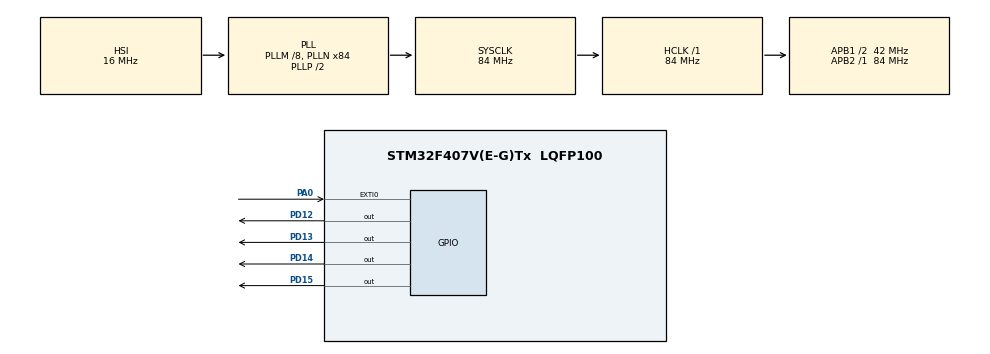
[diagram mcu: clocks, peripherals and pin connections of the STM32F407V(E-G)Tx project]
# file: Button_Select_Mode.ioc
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Mcu.Family=STM32F4
Mcu.Name=STM32F407V(E-G)Tx
Mcu.Package=LQFP100
NVIC.EXTI0_IRQn=true\:1\:0\:true\:false\:true
NVIC.PriorityGroup=NVIC_PRIORITYGROUP_4
NVIC.TIM3_IRQn=true\:0\:0\:true\:false\:true
PA0-WKUP.GPIO_ModeDefaultEXTI=GPIO_MODE_IT_FALLING
PA0-WKUP.GPIO_PuPd=GPIO_NOPULL
PA0-WKUP.Signal=GPXTI0
PA13.Mode=Serial-Wire
PA13.Signal=SYS_JTMS-SWDIO
PA14.Mode=Serial-Wire
PA14.Signal=SYS_JTCK-SWCLK
PD12.GPIO_ModeDefaultOutputPP=GPIO_MODE_OUTPUT_PP
PD12.GPIO_PuPd=GPIO_NOPULL
PD12.GPIO_Speed=GPIO_SPEED_FREQ_VERY_HIGH
PD12.PinState=GPIO_PIN_RESET
PD12.Signal=GPIO_Output
PD13.GPIO_ModeDefaultOutputPP=GPIO_MODE_OUTPUT_PP
PD13.GPIO_PuPd=GPIO_NOPULL
PD13.GPIO_Speed=GPIO_SPEED_FREQ_VERY_HIGH
PD13.PinState=GPIO_PIN_RESET
PD13.Signal=GPIO_Output
PD14.GPIO_ModeDefaultOutputPP=GPIO_MODE_OUTPUT_PP
PD14.GPIO_PuPd=GPIO_NOPULL
PD14.GPIO_Speed=GPIO_SPEED_FREQ_VERY_HIGH
PD14.PinState=GPIO_PIN_RESET
PD14.Signal=GPIO_Output
PD15.GPIO_ModeDefaultOutputPP=GPIO_MODE_OUTPUT_PP
PD15.GPIO_PuPd=GPIO_NOPULL
PD15.GPIO_Speed=GPIO_SPEED_FREQ_VERY_HIGH
PD15.PinState=GPIO_PIN_RESET
PD15.Signal=GPIO_Output
ProjectManager.HeapSize=0x200
ProjectManager.StackSize=0x400
ProjectManager.TargetToolchain=MDK-ARM V5
RCC.48MHZClocksFreq_Value=42000000
RCC.AHBFreq_Value=84000000
RCC.APB1CLKDivider=RCC_HCLK_DIV2
RCC.APB1Freq_Value=42000000
RCC.APB1TimCLKDivider=1
RCC.APB1TimFreq_Value=42000000
RCC.APB2Freq_Value=84000000
RCC.APB2TimFreq_Value=84000000
RCC.CortexFreq_Value=84000000
RCC.HCLKFreq_Value=84000000
RCC.HSE_VALUE=25000000
RCC.HSI_VALUE=16000000
RCC.LSE_VALUE=32768
RCC.PLLM=8
RCC.PLLN=84
RCC.SYSCLKFreq_VALUE=84000000
RCC.SYSCLKSource=RCC_SYSCLKSOURCE_PLLCLK
RCC.VCOOutputFreq_Value=168000000
TIM3.Period=52160
TIM3.Prescaler=4025
VP_TIM3_VS_ClockSourceINT.Mode=Internal
board=Button_Select_Mode

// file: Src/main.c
/**
  ******************************************************************************
  * File Name          : main.c
  * Description        : Main program body
  ******************************************************************************
  *
  * COPYRIGHT(c) 2021 STMicroelectronics
  *
  * Redistribution and use in source and binary forms, with or without modification,
  * are permitted provided that the following conditions are met:
  *   1. Redistributions of source code must retain the above copyright notice,
  *      this list of conditions and the following disclaimer.
  *   2. Redistributions in binary form must reproduce the above copyright notice,
  *      this list of conditions and the following disclaimer in the documentation
  *      and/or other materials provided with the distribution.
  *   3. Neither the name of STMicroelectronics nor the names of its contributors
  *      may be used to endorse or promote products derived from this software
  *      without specific prior written permission.
  *
  * THIS SOFTWARE IS PROVIDED BY THE COPYRIGHT HOLDERS AND CONTRIBUTORS "AS IS"
  * AND ANY EXPRESS OR IMPLIED WARRANTIES, INCLUDING, BUT NOT LIMITED TO, THE
  * IMPLIED WARRANTIES OF MERCHANTABILITY AND FITNESS FOR A PARTICULAR PURPOSE ARE
  * DISCLAIMED. IN NO EVENT SHALL THE COPYRIGHT HOLDER OR CONTRIBUTORS BE LIABLE
  * FOR ANY DIRECT, INDIRECT, INCIDENTAL, SPECIAL, EXEMPLARY, OR CONSEQUENTIAL
  * DAMAGES (INCLUDING, BUT NOT LIMITED TO, PROCUREMENT OF SUBSTITUTE GOODS OR
  * SERVICES; LOSS OF USE, DATA, OR PROFITS; OR BUSINESS INTERRUPTION) HOWEVER
  * CAUSED AND ON ANY THEORY OF LIABILITY, WHETHER IN CONTRACT, STRICT LIABILITY,
  * OR TORT (INCLUDING NEGLIGENCE OR OTHERWISE) ARISING IN ANY WAY OUT OF THE USE
  * OF THIS SOFTWARE, EVEN IF ADVISED OF THE POSSIBILITY OF SUCH DAMAGE.
  *
  ******************************************************************************
  */
#include "stm32f4xx_hal.h"

TIM_HandleTypeDef htim3;

/* USER CODE BEGIN PV */
/* Private variables ---------------------------------------------------------*/
uint8_t btnCount = 0; //count number of press
uint8_t preBtnCount = 0; //pre-state count number of press
/* USER CODE END PV */

void SystemClock_Config(void);
static void MX_GPIO_Init(void);
static void MX_TIM3_Init(void);

/* USER CODE BEGIN PFP */
/* Private function prototypes -----------------------------------------------*/

/* USER CODE END PFP */

/* USER CODE BEGIN 0 */

/*process button*/
void HAL_GPIO_EXTI_Callback(uint16_t GPIO_Pin)
{
	if(GPIO_Pin == GPIO_PIN_0)
	{
		HAL_Delay(50);

		//each press btn, Timer 3 will reset
		HAL_TIM_Base_Start_IT(&htim3);	//start timer 3

		if(HAL_GPIO_ReadPin(GPIOA, GPIO_PIN_0) == GPIO_PIN_RESET)	//if release btn
		{
			__HAL_GPIO_EXTI_CLEAR_IT(GPIO_Pin);
			 btnCount++;	//NOTE: if hold 5s, btnCount = 49, and after release btnCount +1 = 50
		}
	}
}
/*process hold btn in 5s*/
void HAL_TIM_PeriodElapsedCallback(TIM_HandleTypeDef *htim)
{
	if(HAL_GPIO_ReadPin(GPIOA, GPIO_PIN_0) == GPIO_PIN_SET)	//if still hold down btn
	{
		btnCount = 49;
	}
	__HAL_TIM_CLEAR_IT(htim, TIM_IT_UPDATE);

}
void BlinkAll(void)
{
	preBtnCount = btnCount;
	btnCount = 0;
	HAL_GPIO_WritePin(GPIOD, GPIO_PIN_12|GPIO_PIN_13|GPIO_PIN_14|GPIO_PIN_15, GPIO_PIN_RESET);
	while(1)
	{
		HAL_GPIO_TogglePin(GPIOD, GPIO_PIN_12|GPIO_PIN_13|GPIO_PIN_14|GPIO_PIN_15);
		HAL_Delay(200);
		if(btnCount>0) break;
	}
}
void Blink2Led(void)
{
	preBtnCount = btnCount;
	btnCount = 0;
	HAL_GPIO_WritePin(GPIOD, GPIO_PIN_12|GPIO_PIN_13|GPIO_PIN_14|GPIO_PIN_15, GPIO_PIN_RESET);

	while(1)
	{
		HAL_GPIO_TogglePin(GPIOD, GPIO_PIN_12|GPIO_PIN_13);
		HAL_Delay(200);
		if(btnCount>0) break;
	}
}
void Blink1Led(void)
{
	preBtnCount = btnCount;
	btnCount = 0;
	HAL_GPIO_WritePin(GPIOD, GPIO_PIN_12|GPIO_PIN_13|GPIO_PIN_14|GPIO_PIN_15, GPIO_PIN_RESET);

	while(1)
	{
		HAL_GPIO_TogglePin(GPIOD, GPIO_PIN_12);
		HAL_Delay(200);
		if(btnCount>0) break;
	}
}
/* USER CODE END 0 */

int main(void)
{

  /* MCU Configuration----------------------------------------------------------*/

  /* Reset of all peripherals, Initializes the Flash interface and the Systick. */
  HAL_Init();

  /* Configure the system clock */
  SystemClock_Config();

  /* Initialize all configured peripherals */
  MX_GPIO_Init();
  MX_TIM3_Init();

  /* Infinite loop */
  while (1)
  {

  /* USER CODE BEGIN 3 */
		HAL_GPIO_WritePin(GPIOD, GPIO_PIN_13, GPIO_PIN_SET);
		HAL_Delay(150);
		HAL_GPIO_WritePin(GPIOD, GPIO_PIN_13, GPIO_PIN_RESET);
		HAL_Delay(150);
		if(btnCount > 0)
		{
			HAL_Delay(500);
			switch(btnCount)
			{
				case 1:
				{
					Blink1Led();
					break;
				}
				case 3:
				{
					Blink2Led();
					break;
				}
				case 49:	//warning release
				{
					for(int i = 0; i <=5; i++)
					{
						HAL_GPIO_TogglePin(GPIOD, GPIO_PIN_13); //warning release if want to go to case 50
						HAL_Delay(100);
					}
				}
				case 50:
				{
					BlinkAll();
					break;
				}
				default:
				{
					btnCount = preBtnCount;
					break;
				}
			}//end switch

		}//end if
  }
  /* USER CODE END 3 */

}

/** System Clock Configuration
*/
void SystemClock_Config(void)
{

  RCC_OscInitTypeDef RCC_OscInitStruct;
  RCC_ClkInitTypeDef RCC_ClkInitStruct;

  __HAL_RCC_PWR_CLK_ENABLE();

  __HAL_PWR_VOLTAGESCALING_CONFIG(PWR_REGULATOR_VOLTAGE_SCALE1);

  RCC_OscInitStruct.OscillatorType = RCC_OSCILLATORTYPE_HSI;
  RCC_OscInitStruct.HSIState = RCC_HSI_ON;
  RCC_OscInitStruct.HSICalibrationValue = 16;
  RCC_OscInitStruct.PLL.PLLState = RCC_PLL_ON;
  RCC_OscInitStruct.PLL.PLLSource = RCC_PLLSOURCE_HSI;
  RCC_OscInitStruct.PLL.PLLM = 8;
  RCC_OscInitStruct.PLL.PLLN = 84;
  RCC_OscInitStruct.PLL.PLLP = RCC_PLLP_DIV2;
  RCC_OscInitStruct.PLL.PLLQ = 4;
  HAL_RCC_OscConfig(&RCC_OscInitStruct);

  RCC_ClkInitStruct.ClockType = RCC_CLOCKTYPE_HCLK|RCC_CLOCKTYPE_SYSCLK
                              |RCC_CLOCKTYPE_PCLK1|RCC_CLOCKTYPE_PCLK2;
  RCC_ClkInitStruct.SYSCLKSource = RCC_SYSCLKSOURCE_PLLCLK;
  RCC_ClkInitStruct.AHBCLKDivider = RCC_SYSCLK_DIV1;
  RCC_ClkInitStruct.APB1CLKDivider = RCC_HCLK_DIV2;
  RCC_ClkInitStruct.APB2CLKDivider = RCC_HCLK_DIV1;
  HAL_RCC_ClockConfig(&RCC_ClkInitStruct, FLASH_LATENCY_2);

  HAL_SYSTICK_Config(HAL_RCC_GetHCLKFreq()/1000);

  HAL_SYSTICK_CLKSourceConfig(SYSTICK_CLKSOURCE_HCLK);

  /* SysTick_IRQn interrupt configuration */
  HAL_NVIC_SetPriority(SysTick_IRQn, 0, 0);
}

/* TIM3 init function */
void MX_TIM3_Init(void)
{

  TIM_ClockConfigTypeDef sClockSourceConfig;
  TIM_MasterConfigTypeDef sMasterConfig;

  htim3.Instance = TIM3;
  htim3.Init.Prescaler = 4025;
  htim3.Init.CounterMode = TIM_COUNTERMODE_UP;
  htim3.Init.Period = 52160;
  htim3.Init.ClockDivision = TIM_CLOCKDIVISION_DIV1;
  HAL_TIM_Base_Init(&htim3);

  sClockSourceConfig.ClockSource = TIM_CLOCKSOURCE_INTERNAL;
  HAL_TIM_ConfigClockSource(&htim3, &sClockSourceConfig);

  sMasterConfig.MasterOutputTrigger = TIM_TRGO_RESET;
  sMasterConfig.MasterSlaveMode = TIM_MASTERSLAVEMODE_DISABLE;
  HAL_TIMEx_MasterConfigSynchronization(&htim3, &sMasterConfig);

}

/** Configure pins as
        * Analog
        * Input
        * Output
        * EVENT_OUT
        * EXTI
*/
void MX_GPIO_Init(void)
{

  GPIO_InitTypeDef GPIO_InitStruct;

  /* GPIO Ports Clock Enable */
  __HAL_RCC_GPIOA_CLK_ENABLE();
  __HAL_RCC_GPIOD_CLK_ENABLE();

  /*Configure GPIO pin : PA0 */
  GPIO_InitStruct.Pin = GPIO_PIN_0;
  GPIO_InitStruct.Mode = GPIO_MODE_IT_FALLING;
  GPIO_InitStruct.Pull = GPIO_NOPULL;
  HAL_GPIO_Init(GPIOA, &GPIO_InitStruct);

  /*Configure GPIO pins : PD12 PD13 PD14 PD15 */
  GPIO_InitStruct.Pin = GPIO_PIN_12|GPIO_PIN_13|GPIO_PIN_14|GPIO_PIN_15;
  GPIO_InitStruct.Mode = GPIO_MODE_OUTPUT_PP;
  GPIO_InitStruct.Pull = GPIO_NOPULL;
  GPIO_InitStruct.Speed = GPIO_SPEED_FREQ_VERY_HIGH;
  HAL_GPIO_Init(GPIOD, &GPIO_InitStruct);

  /*Configure GPIO pin Output Level */
  HAL_GPIO_WritePin(GPIOD, GPIO_PIN_12|GPIO_PIN_13|GPIO_PIN_14|GPIO_PIN_15, GPIO_PIN_RESET);

  /* EXTI interrupt init*/
  HAL_NVIC_SetPriority(EXTI0_IRQn, 1, 0);
  HAL_NVIC_EnableIRQ(EXTI0_IRQn);

}

/************************ (C) COPYRIGHT STMicroelectronics *****END OF FILE****/
